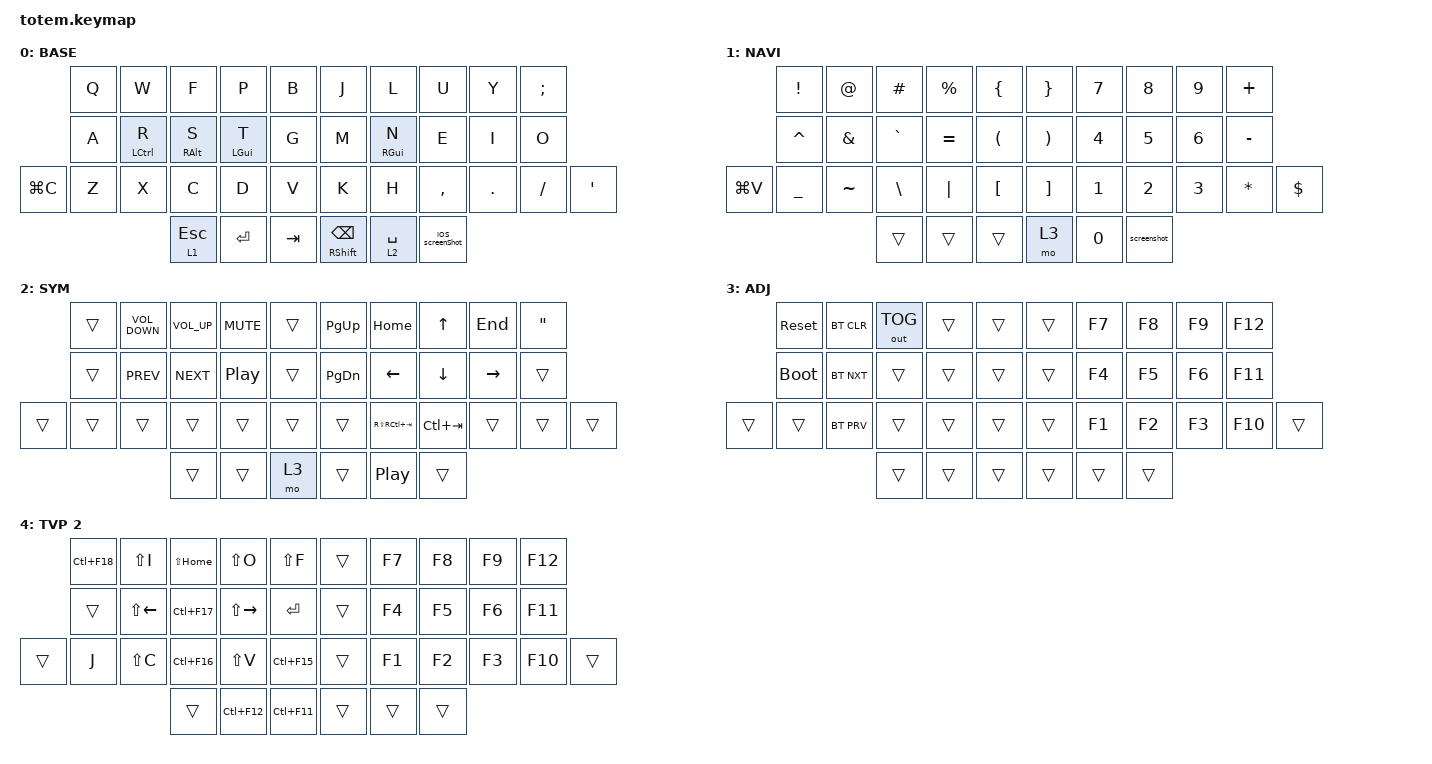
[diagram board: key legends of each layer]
//
//                                                        ▀▀▀▀▀     ▀▀▀▀▀          ▀▀█▀▀
//                                                        ▄▀▀▀▄  ▄  ▄▀▀▀▄  ▄  ▄▀▀▀▄  █  ▄▀▀▀▄
//                                                        █   █  █  █   █  █  █   █  █  █   █
//                                                         ▀▀▀   █   ▀▀▀   █   ▀▀▀   ▀   ▀▀▀
//                                                               █      ▄▄▄█▄▄▄    █   █  
//                                                               ▀      █  █  █     █▄█
//                                                             ▀▀▀▀▀    █  █  █      ▀
//                                                                      ▀  ▀  ▀
//
// ▄▄▄▄▄▄▄▄▄▄▄▄▄▄▄▄▄▄▄▄▄▄▄▄▄▄▄▄▄▄▄▄▄▄▄▄▄▄▄▄▄▄▄▄▄▄▄▄▄▄▄▄▄▄▄▄▄▄▄▄▄▄▄▄▄▄▄▄▄▄▄▄▄▄▄▄▄▄▄▄▄▄▄▄▄▄▄▄▄▄▄▄▄▄▄▄▄▄▄▄▄▄▄▄▄▄▄▄▄▄▄▄▄▄▄▄▄▄▄▄▄▄▄▄▄▄▄▄▄▄▄▄▄▄▄▄▄▄▄▄▄▄▄▄▄▄▄▄▄

#include <behaviors.dtsi>
#include <dt-bindings/zmk/bt.h>
#include <dt-bindings/zmk/keys.h>
#include <dt-bindings/zmk/outputs.h>

#define BASE 0
#define NAV  1
#define SYM  2
#define ADJ  3
#define TVP1 4
#define TVP2 5

&mt {
    quick-tap-ms = <120>;
    flavor = "tap-preferred";
    tapping-term-ms = <200>;
    retro-tap;
};

/ {
    combos { compatible = "zmk,combos"; };

    macros {
        screenshot: screenshot {
            compatible = "zmk,behavior-macro";
            #binding-cells = <0>;
            bindings =
                <&macro_press>,
                <&kp LEFT_GUI &kp LEFT_SHIFT &kp S>,
                <&macro_release>,
                <&kp LEFT_GUI &kp LEFT_SHIFT &kp S>,
                <&macro_wait_time 100>;

            label = "SCREENSHOT";
        };

        IOS_screenShot: IOS_screenShot {
            compatible = "zmk,behavior-macro";
            #binding-cells = <0>;
            bindings =
                <&macro_press>,
                <&kp LEFT_CONTROL &kp LSHFT &kp LCMD &kp NUMBER_4>,
                <&macro_release>,
                <&kp LEFT_CONTROL &kp LSHIFT &kp LCMD &kp NUMBER_4>,
                <&macro_wait_time 50>;

            label = "IOS_SCREENSHOT";
        };
    };

    keymap {
        compatible = "zmk,keymap";

        // ▄▄▄▄▄▄▄▄▄▄▄▄▄▄▄▄▄▄▄▄▄▄▄▄▄▄▄▄▄▄▄▄▄▄▄▄▄▄▄▄▄▄▄▄▄▄▄▄▄▄▄▄▄▄▄▄▄▄▄▄▄▄▄▄▄▄▄▄▄▄▄▄▄▄▄▄▄▄▄▄▄▄▄▄▄▄▄▄▄▄▄▄▄▄▄▄▄▄▄▄▄▄▄▄▄▄▄▄▄▄▄▄▄▄▄▄▄▄▄▄▄▄▄▄▄▄▄▄▄▄▄▄▄▄▄▄▄▄▄▄▄▄▄▄▄▄▄▄▄

        base_layer {
            // ┏━━━━━━━━━━━━━━━━━━━━━━━━━━━━━━━━━━━━━━━┓

            label = "BASE";

            // ┗━━━━━━━━━━━━━━━━━━━━━━━━━━━━━━━━━━━━━━━┛
            //             ┏━━━━━━━━━━━┳━━━━━━━━━━━┳━━━━━━━━━━━┳━━━━━━━━━━━┳━━━━━━━━━━━┓   ┏━━━━━━━━━━━┳━━━━━━━━━━━┳━━━━━━━━━━━┳━━━━━━━━━━━┳━━━━━━━━━━━┓
            //             ┃     Q     ┃     W     ┃     F     ┃     P     ┃     G     ┃   ┃     J     ┃     L     ┃     U     ┃     Y     ┃     ;     ┃
            //             ┣━━━━━━━━━━━╋━━━━━━━━━━━╋━━━━━━━━━━━╋━━━━━━━━━━━╋━━━━━━━━━━━┫   ┣━━━━━━━━━━━╋━━━━━━━━━━━╋━━━━━━━━━━━╋━━━━━━━━━━━╋━━━━━━━━━━━┫
            //             ┃     A     ┃     R     ┃     S     ┃     T     ┃     D     ┃   ┃     H     ┃     N     ┃     E     ┃     I     ┃     O     ┃
            // ┏━━━━━━━━━━━╋━━━━━━━━━━━╋━━━━━━━━━━━╋━━━━━━━━━━━╋━━━━━━━━━━━╋━━━━━━━━━━━┫   ┣━━━━━━━━━━━╋━━━━━━━━━━━╋━━━━━━━━━━━╋━━━━━━━━━━━╋━━━━━━━━━━━╋━━━━━━━━━━━┓
            // ┃     Q     ┃     Z     ┃     X     ┃     C     ┃     V     ┃     B     ┃   ┃     K     ┃     M     ┃     ,     ┃     .     ┃     /     ┃     \     ┃
            // ┗━━━━━━━━━━━┻━━━━━━━━━━━┻━━━━━━━━━━━╋━━━━━━━━━━━╋━━━━━━━━━━━╋━━━━━━━━━━━┫   ┣━━━━━━━━━━━╋━━━━━━━━━━━╋━━━━━━━━━━━╋━━━━━━━━━━━┻━━━━━━━━━━━┻━━━━━━━━━━━┛
            //                                     ┃    DEL    ┃    TAB    ┃    SPC    ┃   ┃   ENTER   ┃           ┃   BSPC    ┃
            //                                     ┗━━━━━━━━━━━┻━━━━━━━━━━━┻━━━━━━━━━━━┛   ┗━━━━━━━━━━━┻━━━━━━━━━━━┻━━━━━━━━━━━┛

            bindings = <
           &kp Q  &kp W               &kp F            &kp P           &kp B      &kp J                 &kp L            &kp U            &kp Y    &kp SEMI
           &kp A  &mt LEFT_CONTROL R  &mt RIGHT_ALT S  &mt LEFT_GUI T  &kp G      &kp M                 &mt RIGHT_GUI N  &kp E            &kp I    &kp O
&kp LG(C)  &kp Z  &kp X               &kp C            &kp D           &kp V      &kp K                 &kp H            &kp COMMA        &kp DOT  &kp FSLH  &kp APOSTROPHE
                                      &lt 1 ESC        &kp ENTER       &kp TAB    &mt RIGHT_SHIFT BSPC  &lt 2 SPACE      &IOS_screenShot
            >;
        };

        // ▄▄▄▄▄▄▄▄▄▄▄▄▄▄▄▄▄▄▄▄▄▄▄▄▄▄▄▄▄▄▄▄▄▄▄▄▄▄▄▄▄▄▄▄▄▄▄▄▄▄▄▄▄▄▄▄▄▄▄▄▄▄▄▄▄▄▄▄▄▄▄▄▄▄▄▄▄▄▄▄▄▄▄▄▄▄▄▄▄▄▄▄▄▄▄▄▄▄▄▄▄▄▄▄▄▄▄▄▄▄▄▄▄▄▄▄▄▄▄▄▄▄▄▄▄▄▄▄▄▄▄▄▄▄▄▄▄▄▄▄▄▄▄▄▄▄▄▄▄

        nav_layer {
            // ┏━━━━━━━━━━━━━━━━━━━━━━━━━━━━━━━━━━━━━━━┓

            label = "NAVI";

            // ┗━━━━━━━━━━━━━━━━━━━━━━━━━━━━━━━━━━━━━━━┛
            //             ┏━━━━━━━━━━━┳━━━━━━━━━━━┳━━━━━━━━━━━┳━━━━━━━━━━━┳━━━━━━━━━━━┓   ┏━━━━━━━━━━━┳━━━━━━━━━━━┳━━━━━━━━━━━┳━━━━━━━━━━━┳━━━━━━━━━━━┓
            //             ┃           ┃           ┃     UP    ┃           ┃     {     ┃   ┃     }     ┃     7     ┃     8     ┃     9     ┃     +     ┃
            //             ┣━━━━━━━━━━━╋━━━━━━━━━━━╋━━━━━━━━━━━╋━━━━━━━━━━━╋━━━━━━━━━━━┫   ┣━━━━━━━━━━━╋━━━━━━━━━━━╋━━━━━━━━━━━╋━━━━━━━━━━━╋━━━━━━━━━━━┫
            //             ┃   SHIFT   ┃   LEFT    ┃    DOWN   ┃   RIGHT   ┃     [     ┃   ┃     ]     ┃     4     ┃     5     ┃     6     ┃     -     ┃
            // ┏━━━━━━━━━━━╋━━━━━━━━━━━╋━━━━━━━━━━━╋━━━━━━━━━━━╋━━━━━━━━━━━╋━━━━━━━━━━━┫   ┣━━━━━━━━━━━╋━━━━━━━━━━━╋━━━━━━━━━━━╋━━━━━━━━━━━╋━━━━━━━━━━━╋━━━━━━━━━━━┓
            // ┃           ┃           ┃   P UP    ┃  C LOCK   ┃  P DOWN   ┃     (     ┃   ┃     )     ┃     1     ┃     2     ┃     3     ┃     *     ┃           ┃
            // ┗━━━━━━━━━━━┻━━━━━━━━━━━┻━━━━━━━━━━━╋━━━━━━━━━━━╋━━━━━━━━━━━╋━━━━━━━━━━━┫   ┣━━━━━━━━━━━╋━━━━━━━━━━━╋━━━━━━━━━━━╋━━━━━━━━━━━┻━━━━━━━━━━━┻━━━━━━━━━━━┛
            //                                     ┃           ┃    TAB    ┃    SPC    ┃   ┃    DEL    ┃     0     ┃           ┃
            //                                     ┗━━━━━━━━━━━┻━━━━━━━━━━━┻━━━━━━━━━━━┛   ┗━━━━━━━━━━━┻━━━━━━━━━━━┻━━━━━━━━━━━┛

            bindings = <
           &kp EXCLAMATION  &kp AT_SIGN  &kp POUND      &kp PERCENT  &kp LBRC                &kp RBRC               &kp N7        &kp NUMBER_8  &kp NUMBER_9  &kp PLUS
           &kp CARET        &kp AMPS     &kp GRAVE      &kp EQUAL    &kp LEFT_PARENTHESIS    &kp RIGHT_PARENTHESIS  &kp NUMBER_4  &kp N5        &kp NUMBER_6  &kp MINUS
&kp LG(V)  &kp UNDER        &kp TILDE    &kp BACKSLASH  &kp PIPE     &kp LEFT_BRACKET        &kp RIGHT_BRACKET      &kp NUMBER_1  &kp NUMBER_2  &kp NUMBER_3  &kp ASTRK  &kp DOLLAR
                                         &trans         &trans       &trans                  &mo 3                  &kp NUMBER_0  &screenshot
            >;
        };

        // ▄▄▄▄▄▄▄▄▄▄▄▄▄▄▄▄▄▄▄▄▄▄▄▄▄▄▄▄▄▄▄▄▄▄▄▄▄▄▄▄▄▄▄▄▄▄▄▄▄▄▄▄▄▄▄▄▄▄▄▄▄▄▄▄▄▄▄▄▄▄▄▄▄▄▄▄▄▄▄▄▄▄▄▄▄▄▄▄▄▄▄▄▄▄▄▄▄▄▄▄▄▄▄▄▄▄▄▄▄▄▄▄▄▄▄▄▄▄▄▄▄▄▄▄▄▄▄▄▄▄▄▄▄▄▄▄▄▄▄▄▄▄▄▄▄▄▄▄▄

        sim_layer {
            // ┏━━━━━━━━━━━━━━━━━━━━━━━━━━━━━━━━━━━━━━━┓

            label = "SYM";

            // ┗━━━━━━━━━━━━━━━━━━━━━━━━━━━━━━━━━━━━━━━┛
            //             ┏━━━━━━━━━━━┳━━━━━━━━━━━┳━━━━━━━━━━━┳━━━━━━━━━━━┳━━━━━━━━━━━┓   ┏━━━━━━━━━━━┳━━━━━━━━━━━┳━━━━━━━━━━━┳━━━━━━━━━━━┳━━━━━━━━━━━┓
            //             ┃     !     ┃     @     ┃     #     ┃     $     ┃     %     ┃   ┃     ˆ     ┃     &     ┃     Ü     ┃     '     ┃     "     ┃
            //             ┣━━━━━━━━━━━╋━━━━━━━━━━━╋━━━━━━━━━━━╋━━━━━━━━━━━╋━━━━━━━━━━━┫   ┣━━━━━━━━━━━╋━━━━━━━━━━━╋━━━━━━━━━━━╋━━━━━━━━━━━╋━━━━━━━━━━━┫
            //             ┃     Ä     ┃           ┃    SZ     ┃           ┃           ┃   ┃   MUTE    ┃   YEN     ┃   EURO    ┃  POUND    ┃     Ö     ┃
            // ┏━━━━━━━━━━━╋━━━━━━━━━━━╋━━━━━━━━━━━╋━━━━━━━━━━━╋━━━━━━━━━━━╋━━━━━━━━━━━┫   ┣━━━━━━━━━━━╋━━━━━━━━━━━╋━━━━━━━━━━━╋━━━━━━━━━━━╋━━━━━━━━━━━╋━━━━━━━━━━━┓
            // ┃           ┃  EMAIL1   ┃  EMAIL2   ┃           ┃           ┃           ┃   ┃   VOL-    ┃   VOL+    ┃   LAST    ┃   NEXT    ┃     \     ┃           ┃
            // ┗━━━━━━━━━━━┻━━━━━━━━━━━┻━━━━━━━━━━━╋━━━━━━━━━━━╋━━━━━━━━━━━╋━━━━━━━━━━━┫   ┣━━━━━━━━━━━╋━━━━━━━━━━━╋━━━━━━━━━━━╋━━━━━━━━━━━┻━━━━━━━━━━━┻━━━━━━━━━━━┛
            //                                     ┃           ┃    GIF    ┃    ADJ    ┃   ┃           ┃           ┃           ┃
            //                                     ┗━━━━━━━━━━━┻━━━━━━━━━━━┻━━━━━━━━━━━┛   ┗━━━━━━━━━━━┻━━━━━━━━━━━┻━━━━━━━━━━━┛

            bindings = <
        &trans  &kp C_VOLUME_DOWN  &kp C_VOL_UP  &kp C_MUTE        &trans    &kp PAGE_UP    &kp HOME         &kp UP_ARROW  &kp END    &kp DQT
        &trans  &kp C_PREV         &kp C_NEXT    &kp C_PLAY_PAUSE  &trans    &kp PAGE_DOWN  &kp LEFT         &kp DOWN      &kp RIGHT  &trans
&trans  &trans  &trans             &trans        &trans            &trans    &trans         &kp RS(RC(TAB))  &kp LC(TAB)   &trans     &trans   &trans
                                   &trans        &trans            &mo 3     &trans         &kp C_PP         &trans
            >;
        };

        // ▄▄▄▄▄▄▄▄▄▄▄▄▄▄▄▄▄▄▄▄▄▄▄▄▄▄▄▄▄▄▄▄▄▄▄▄▄▄▄▄▄▄▄▄▄▄▄▄▄▄▄▄▄▄▄▄▄▄▄▄▄▄▄▄▄▄▄▄▄▄▄▄▄▄▄▄▄▄▄▄▄▄▄▄▄▄▄▄▄▄▄▄▄▄▄▄▄▄▄▄▄▄▄▄▄▄▄▄▄▄▄▄▄▄▄▄▄▄▄▄▄▄▄▄▄▄▄▄▄▄▄▄▄▄▄▄▄▄▄▄▄▄▄▄▄▄▄▄▄

        adjust_layer {
            // ┏━━━━━━━━━━━━━━━━━━━━━━━━━━━━━━━━━━━━━━━┓

            label = "ADJ";

            // ┗━━━━━━━━━━━━━━━━━━━━━━━━━━━━━━━━━━━━━━━┛
            //             ┏━━━━━━━━━━━┳━━━━━━━━━━━┳━━━━━━━━━━━┳━━━━━━━━━━━┳━━━━━━━━━━━┓   ┏━━━━━━━━━━━┳━━━━━━━━━━━┳━━━━━━━━━━━┳━━━━━━━━━━━┳━━━━━━━━━━━┓
            //             ┃   RESET   ┃ BT CLEAR  ┃  OUT TOG  ┃           ┃           ┃   ┃           ┃    F7     ┃    F8     ┃    F9     ┃    F12    ┃
            //             ┣━━━━━━━━━━━╋━━━━━━━━━━━╋━━━━━━━━━━━╋━━━━━━━━━━━╋━━━━━━━━━━━┫   ┣━━━━━━━━━━━╋━━━━━━━━━━━╋━━━━━━━━━━━╋━━━━━━━━━━━╋━━━━━━━━━━━┫
            //             ┃ BOOTLOAD  ┃ BT NEXT   ┃           ┃           ┃           ┃   ┃           ┃    F4     ┃    F5     ┃    F6     ┃    F11    ┃
            // ┏━━━━━━━━━━━╋━━━━━━━━━━━╋━━━━━━━━━━━╋━━━━━━━━━━━╋━━━━━━━━━━━╋━━━━━━━━━━━┫   ┣━━━━━━━━━━━╋━━━━━━━━━━━╋━━━━━━━━━━━╋━━━━━━━━━━━╋━━━━━━━━━━━╋━━━━━━━━━━━┓
            // ┃           ┃           ┃ BT PREV   ┃           ┃           ┃           ┃   ┃           ┃    F1     ┃    F2     ┃    F3     ┃    F10    ┃           ┃
            // ┗━━━━━━━━━━━┻━━━━━━━━━━━┻━━━━━━━━━━━╋━━━━━━━━━━━╋━━━━━━━━━━━╋━━━━━━━━━━━┫   ┣━━━━━━━━━━━╋━━━━━━━━━━━╋━━━━━━━━━━━╋━━━━━━━━━━━┻━━━━━━━━━━━┻━━━━━━━━━━━┛
            //                                     ┃           ┃           ┃           ┃   ┃           ┃           ┃           ┃
            //                                     ┗━━━━━━━━━━━┻━━━━━━━━━━━┻━━━━━━━━━━━┛   ┗━━━━━━━━━━━┻━━━━━━━━━━━┻━━━━━━━━━━━┛

            bindings = <
        &sys_reset   &bt BT_CLR  &out OUT_TOG  &trans  &trans    &trans  &kp F7  &kp F8  &kp F9  &kp F12
        &bootloader  &bt BT_NXT  &trans        &trans  &trans    &trans  &kp F4  &kp F5  &kp F6  &kp F11
&trans  &trans       &bt BT_PRV  &trans        &trans  &trans    &trans  &kp F1  &kp F2  &kp F3  &kp F10  &trans
                                 &trans        &trans  &trans    &trans  &trans  &trans
            >;
        };

        // ▄▄▄▄▄▄▄▄▄▄▄▄▄▄▄▄▄▄▄▄▄▄▄▄▄▄▄▄▄▄▄▄▄▄▄▄▄▄▄▄▄▄▄▄▄▄▄▄▄▄▄▄▄▄▄▄▄▄▄▄▄▄▄▄▄▄▄▄▄▄▄▄▄▄▄▄▄▄▄▄▄▄▄▄▄▄▄▄▄▄▄▄▄▄▄▄▄▄▄▄▄▄▄▄▄▄▄▄▄▄▄▄▄▄▄▄▄▄▄▄▄▄▄▄▄▄▄▄▄▄▄▄▄▄▄▄▄▄▄▄▄▄▄▄▄▄▄▄▄
        // ▄▄▄▄▄▄▄▄▄▄▄▄▄▄▄▄▄▄▄▄▄▄▄▄▄▄▄▄▄▄▄▄▄▄▄▄▄▄▄▄▄▄▄▄▄▄▄▄▄▄▄▄▄▄▄▄▄▄▄▄▄▄▄▄▄▄▄▄▄▄▄▄▄▄▄▄▄▄▄▄▄▄▄▄▄▄▄▄▄▄▄▄▄▄▄▄▄▄▄▄▄▄▄▄▄▄▄▄▄▄▄▄▄▄▄▄▄▄▄▄▄▄▄▄▄▄▄▄▄▄▄▄▄▄▄▄▄▄▄▄▄▄▄▄▄▄▄▄▄

        tvp2_layer {
            // ┏━━━━━━━━━━━━━━━━━━━━━━━━━━━━━━━━━━━━━━━┓

            label = "TVP 2";

            // ┗━━━━━━━━━━━━━━━━━━━━━━━━━━━━━━━━━━━━━━━┛
            //             ┏━━━━━━━━━━━┳━━━━━━━━━━━┳━━━━━━━━━━━┳━━━━━━━━━━━┳━━━━━━━━━━━┓   ┏━━━━━━━━━━━┳━━━━━━━━━━━┳━━━━━━━━━━━┳━━━━━━━━━━━┳━━━━━━━━━━━┓
            //             ┃ SOLO      ┃ TOGGLE IN ┃ RESET ROT ┃ TOGGLE OUT┃ TAKE SNAP ┃   ┃           ┃           ┃           ┃           ┃           ┃
            //             ┣━━━━━━━━━━━╋━━━━━━━━━━━╋━━━━━━━━━━━╋━━━━━━━━━━━╋━━━━━━━━━━━┫   ┣━━━━━━━━━━━╋━━━━━━━━━━━╋━━━━━━━━━━━╋━━━━━━━━━━━╋━━━━━━━━━━━┫
            //             ┃ ---       ┃ LAST KEY  ┃ NEW KEY   ┃ NEXT KEY  ┃ ENTER     ┃   ┃           ┃           ┃           ┃           ┃           ┃
            // ┏━━━━━━━━━━━╋━━━━━━━━━━━╋━━━━━━━━━━━╋━━━━━━━━━━━╋━━━━━━━━━━━╋━━━━━━━━━━━┫   ┣━━━━━━━━━━━╋━━━━━━━━━━━╋━━━━━━━━━━━╋━━━━━━━━━━━╋━━━━━━━━━━━╋━━━━━━━━━━━┓
            // ┃           ┃ FULLSCR   ┃ CPY2BRUSH ┃ DEL HEAD  ┃ PSTinPLACE┃ BOOK MARK ┃   ┃           ┃           ┃           ┃           ┃           ┃           ┃
            // ┗━━━━━━━━━━━┻━━━━━━━━━━━┻━━━━━━━━━━━╋━━━━━━━━━━━╋━━━━━━━━━━━╋━━━━━━━━━━━┫   ┣━━━━━━━━━━━╋━━━━━━━━━━━╋━━━━━━━━━━━╋━━━━━━━━━━━┻━━━━━━━━━━━┻━━━━━━━━━━━┛
            //                                     ┃           ┃ REDO/SAV1 ┃TRANS/WARP ┃   ┃           ┃           ┃           ┃
            //                                     ┗━━━━━━━━━━━┻━━━━━━━━━━━┻━━━━━━━━━━━┛   ┗━━━━━━━━━━━┻━━━━━━━━━━━┻━━━━━━━━━━━┛

            bindings = <
        &kp LC(F18)  &kp LS(I)     &kp LS(HOME)  &kp LS(O)      &kp LS(F)      &trans  &kp F7  &kp F8  &kp F9  &kp F12
        &trans       &kp LS(LEFT)  &kp LC(F17)   &kp LS(RIGHT)  &kp RET        &trans  &kp F4  &kp F5  &kp F6  &kp F11
&trans  &kp J        &kp LS(C)     &kp LC(F16)   &kp LS(V)      &kp LC(F15)    &trans  &kp F1  &kp F2  &kp F3  &kp F10  &trans
                                   &trans        &kp LC(F12)    &kp LC(F11)    &trans  &trans  &trans
            >;
        };
    };
};
